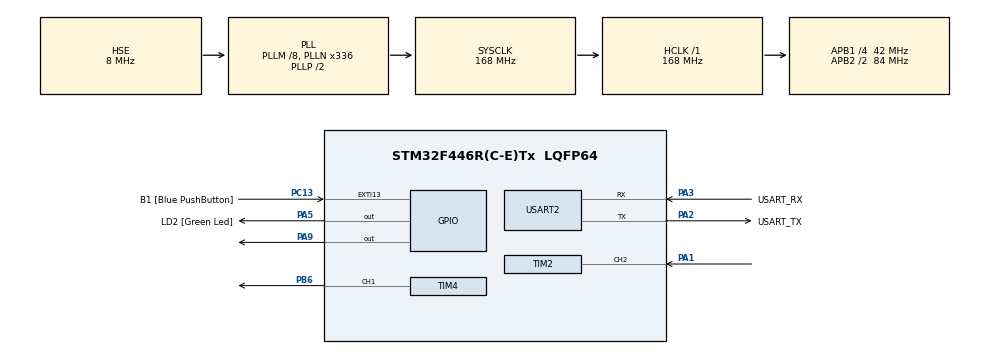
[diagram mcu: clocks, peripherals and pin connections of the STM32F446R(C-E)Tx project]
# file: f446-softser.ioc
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ADC1.Channel-40\#ChannelRegularConversion=ADC_CHANNEL_TEMPSENSOR
ADC1.ContinuousConvMode=ENABLE
ADC1.DiscontinuousConvMode=DISABLE
ADC1.EOCSelection=ADC_EOC_SEQ_CONV
ADC1.NbrOfConversion=1
ADC1.NbrOfConversionFlag=1
ADC1.Rank-40\#ChannelRegularConversion=1
ADC1.Resolution=ADC_RESOLUTION_12B
ADC1.SamplingTime-40\#ChannelRegularConversion=ADC_SAMPLETIME_3CYCLES
ADC1.master=1
Mcu.Family=STM32F4
Mcu.Name=STM32F446R(C-E)Tx
Mcu.Package=LQFP64
NVIC.PriorityGroup=NVIC_PRIORITYGROUP_2
NVIC.TIM2_IRQn=true\:1\:1\:true\:false\:true
NVIC.TIM3_IRQn=true\:1\:0\:true\:false\:true
PA1.Signal=S_TIM2_CH2
PA13.GPIO_Label=TMS
PA13.Signal=SYS_JTMS-SWDIO
PA14.GPIO_Label=TCK
PA14.Signal=SYS_JTCK-SWCLK
PA2.GPIO_Label=USART_TX
PA2.Mode=Asynchronous
PA2.Signal=USART2_TX
PA3.GPIO_Label=USART_RX
PA3.Mode=Asynchronous
PA3.Signal=USART2_RX
PA5.GPIO_Label=LD2 [Green Led]
PA5.Signal=GPIO_Output
PA9.PinState=GPIO_PIN_SET
PA9.Signal=GPIO_Output
PB3.GPIO_Label=SWO
PB3.Signal=SYS_JTDO-SWO
PB6.Signal=S_TIM4_CH1
PC13.GPIO_Label=B1 [Blue PushButton]
PC13.GPIO_ModeDefaultEXTI=GPIO_MODE_EVT_RISING
PC13.Signal=GPXTI13
PC14-OSC32_IN.Signal=RCC_OSC32_IN
PC15-OSC32_OUT.Signal=RCC_OSC32_OUT
PH0-OSC_IN.Mode=HSE-External-Clock-Source
PH0-OSC_IN.Signal=RCC_OSC_IN
PH1-OSC_OUT.Mode=HSE-External-Clock-Source
PH1-OSC_OUT.Signal=RCC_OSC_OUT
ProjectManager.HeapSize=0x200
ProjectManager.StackSize=0x400
ProjectManager.TargetToolchain=MDK-ARM V5
RCC.AHBFreq_Value=168000000
RCC.APB1CLKDivider=RCC_HCLK_DIV4
RCC.APB1Freq_Value=42000000
RCC.APB1TimFreq_Value=84000000
RCC.APB2CLKDivider=RCC_HCLK_DIV2
RCC.APB2Freq_Value=84000000
RCC.APB2TimFreq_Value=168000000
RCC.CortexFreq_Value=168000000
RCC.FLatency-AdvancedSettings=FLASH_LATENCY_5
RCC.HCLKFreq_Value=168000000
RCC.HSE_VALUE=8000000
RCC.HSI_VALUE=16000000
RCC.PLLM=8
RCC.PLLN=336
RCC.PLLSourceVirtual=RCC_PLLSOURCE_HSE
RCC.SYSCLKFreq_VALUE=168000000
RCC.SYSCLKSource=RCC_SYSCLKSOURCE_PLLCLK
RCC.USBFreq_Value=168000000
RCC.VCOOutputFreq_Value=336000000
SH.S_TIM2_CH2.0=TIM2_CH2,Input_Capture2_from_TI2
SH.S_TIM4_CH1.0=TIM4_CH1,PWM Generation1 CH1
TIM2.Channel-Input_Capture2_from_TI2=TIM_CHANNEL_2
TIM2.ICFilter_CH2=0
TIM2.ICPolarity_CH2=TIM_INPUTCHANNELPOLARITY_FALLING
TIM2.Period=0xffffffff
TIM2.Pulse-Output\ Compare1\ No\ Output=0
TIM3.Period=2099
TIM3.Prescaler=1
TIM4.OCFastMode_PWM-PWM\ Generation1\ CH1=TIM_OCFAST_ENABLE
TIM4.Period=2210
TIM4.Pulse-PWM\ Generation1\ CH1=1105
VP_ADC1_TempSens_Input.Mode=IN-TempSens
VP_TIM2_VS_ClockSourceINT.Mode=Internal
VP_TIM2_VS_no_output1.Mode=Output Compare1 No Output
VP_TIM3_VS_ClockSourceINT.Mode=Internal
VP_TIM3_VS_no_output1.Mode=Output Compare1 No Output
VP_TIM4_VS_ClockSourceINT.Mode=Internal
board=NUCLEO-F446RE

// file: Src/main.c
/**
  ******************************************************************************
  * File Name          : main.c
  * Description        : Main program body
  ******************************************************************************
  *
  * COPYRIGHT(c) 2016 STMicroelectronics
  *
  * Redistribution and use in source and binary forms, with or without modification,
  * are permitted provided that the following conditions are met:
  *   1. Redistributions of source code must retain the above copyright notice,
  *      this list of conditions and the following disclaimer.
  *   2. Redistributions in binary form must reproduce the above copyright notice,
  *      this list of conditions and the following disclaimer in the documentation
  *      and/or other materials provided with the distribution.
  *   3. Neither the name of STMicroelectronics nor the names of its contributors
  *      may be used to endorse or promote products derived from this software
  *      without specific prior written permission.
  *
  * THIS SOFTWARE IS PROVIDED BY THE COPYRIGHT HOLDERS AND CONTRIBUTORS "AS IS"
  * AND ANY EXPRESS OR IMPLIED WARRANTIES, INCLUDING, BUT NOT LIMITED TO, THE
  * IMPLIED WARRANTIES OF MERCHANTABILITY AND FITNESS FOR A PARTICULAR PURPOSE ARE
  * DISCLAIMED. IN NO EVENT SHALL THE COPYRIGHT HOLDER OR CONTRIBUTORS BE LIABLE
  * FOR ANY DIRECT, INDIRECT, INCIDENTAL, SPECIAL, EXEMPLARY, OR CONSEQUENTIAL
  * DAMAGES (INCLUDING, BUT NOT LIMITED TO, PROCUREMENT OF SUBSTITUTE GOODS OR
  * SERVICES; LOSS OF USE, DATA, OR PROFITS; OR BUSINESS INTERRUPTION) HOWEVER
  * CAUSED AND ON ANY THEORY OF LIABILITY, WHETHER IN CONTRACT, STRICT LIABILITY,
  * OR TORT (INCLUDING NEGLIGENCE OR OTHERWISE) ARISING IN ANY WAY OUT OF THE USE
  * OF THIS SOFTWARE, EVEN IF ADVISED OF THE POSSIBILITY OF SUCH DAMAGE.
  *
  ******************************************************************************
  */
#include "stm32f4xx_hal.h"
#include "adc.h"
#include "tim.h"
#include "usart.h"
#include "gpio.h"

/* USER CODE BEGIN Includes */
#include <string.h>
#include "cmsis_os.h"
#include "macros.h"
#include "drv.h"
/* USER CODE END Includes */

/* USER CODE BEGIN PV */
/* Private variables ---------------------------------------------------------*/
#ifdef MAC_COORDINATOR
osThreadId tid_blinkLED;
#endif
//osThreadId tid_sendSerial;
//osThreadId tid_checkButton;
char Buf[1024];
#ifdef DRV_TEST
uint8_t TestSnd[DRV_TEST] = {0, 1, 2, 3, 4, 5, 6, 7, 8, 9,
                             0, 1, 2, 3, 4, 5, 6, 7, 8, 9,
                             0, 1, 2, 3, 4, 5, 6, 7, 8, 9,
                             0, 1, 2, 3, 4, 5, 6, 7, 8, 9};
uint8_t TestRcv[DRV_TEST];
osThreadId tid_DrvTest;
#endif
//char rcv[128];
//uint16_t rcvlen;

// Required for HAL_GetTick function
extern uint32_t os_time;

//uint8_t TXData[] = "Test data input vwxyz\t";
/* USER CODE END PV */

void SystemClock_Config(void);
void Error_Handler(void);

/* USER CODE BEGIN PFP */
/* Private function prototypes -----------------------------------------------*/

/* USER CODE END PFP */

/* USER CODE BEGIN 0 */
uint32_t HAL_GetTick(void) {
  return os_time;
}

#ifdef MAC_COORDINATOR
void blinkLED(void const *argument) {
  while (1) {
    __GPIO_WRITE(GPIOA, 5, GPIO_PIN_SET);
    osSignalWait(0x0001, osWaitForever);
    __GPIO_WRITE(GPIOA, 5, GPIO_PIN_RESET);
    osSignalWait(0x0001, osWaitForever);

    //sprintf(Buf, "%x\r\n", serbuff);
    //HAL_UART_Transmit(&huart2, (uint8_t *) Buf, strlen(Buf), 0xffffffff);
  }
}
#endif

#ifdef DRV_TEST
void DrvTest(void const *argument) {
  int i;

  while (1) {
    PHY_API_SendStart(TestSnd, DRV_TEST);
    osSignalWait(1, osWaitForever);
    for (i = 0; i < DRV_TEST; i++) {
      sprintf(Buf, "%x ", TestRcv[i]);
      HAL_UART_Transmit(&huart2, (uint8_t *) Buf, strlen(Buf), 0xff);
    }
    HAL_UART_Transmit(&huart2, (uint8_t *) "\r\n", strlen("\r\n"), 0xff);
  }
}

osThreadDef(DrvTest, osPriorityNormal, 1, 0);
#endif
/*
void sendSerial(void const *argument) {
	uint8_t *ptr;
	uint16_t blen;

  while(1) {
    osSignalWait(1, osWaitForever);
		ptr = Buffer;
		blen = BufferLen;
		while(blen--) {
			HAL_UART_Transmit(&huart2, ptr++, 1, 1);
		}
    //sprintf(Buf, "%x ", printval);
    //HAL_UART_Transmit(&huart2, (uint8_t *) Buf, strlen(Buf), 0xf);
  }
}*/

uint8_t bitcnt(uint8_t x) {
	x = (x & 0x55 ) + ((x >>  1) & 0x55 ); //put count of each  2 bits into those  2 bits
	x = (x & 0x33 ) + ((x >>  2) & 0x33 ); //put count of each  4 bits into those  4 bits
	x = (x & 0xf ) + ((x >>  4) & 0xf ); //put count of each  8 bits into those  8 bits

	return x;
}
/*
void sendSerial(void const *argument) {
	while(1) {
		osSignalWait(1, osWaitForever);
		HAL_UART_Transmit(&huart2,(uint8_t *) rcv, rcvlen, 0xffff);
	}
}*/

/*
void sendSerial(void const *argument) {
	int i, errcnt;

	while(1) {
		osSignalWait(1, osWaitForever);
		errcnt = 0;
		for (i = 0; i < (sizeof(TXData) - 1); i++)
			errcnt += bitcnt(TXData[i] ^ rcv[i]);
		sprintf(Buf, "%4d", errcnt);
		HAL_UART_Transmit(&huart2,(uint8_t *) Buf, strlen(Buf), 0xff);
	}
}*/
/*
void checkButton(void const *argument) {
  while (1) {
    // Always send data
    PHY_API_SendStart(TXData, sizeof(TXData) - 1);

    if (!__GPIO_READ(GPIOC, 13)) {
      PHY_API_SendStart(TXData, sizeof(TXData) - 1);
      osDelay(200);
    }/
  }
}
*/
#ifdef MAC_COORDINATOR
osThreadDef (blinkLED, osPriorityNormal, 1, 0);
#endif
//osThreadDef (sendSerial, osPriorityNormal, 1, 0);
//osThreadDef (checkButton, osPriorityNormal, 1, 0);
/* USER CODE END 0 */

int main(void)
{

  /* USER CODE BEGIN 1 */
  osKernelInitialize();
  /* USER CODE END 1 */

  /* MCU Configuration----------------------------------------------------------*/

  /* Reset of all peripherals, Initializes the Flash interface and the Systick. */
  HAL_Init();

  /* Configure the system clock */
  SystemClock_Config();

  /* Initialize all configured peripherals */
  MX_GPIO_Init();
  MX_TIM2_Init();
  MX_USART2_UART_Init();
  MX_TIM4_Init();
  MX_TIM3_Init();
  MX_ADC1_Init();

  /* USER CODE BEGIN 2 */
//#ifdef  USE_FULL_ASSERT
#if !defined(MAC_COORDINATOR) || defined(DRV_TEST)
  // Board - Serial identification
  sprintf(Buf, "\x0cNUCLEO-F446 Debug Terminal\r\nVisible Light Communication "
      "Project\r\n---\r\nDEV_CONFIG=%d\r\n\r\n", DEV_CONFIG);
  HAL_UART_Transmit(&huart2, (uint8_t *) Buf, strlen(Buf), 0xffff);
#endif
//#endif
  // Initialize Optical Driver
  DRV_Init();
  // Initialize PHY layer
  PHY_Init();
#ifndef DRV_TEST
  // Initialize MAC APP layer
  MAC_AppInit();
#endif

  // Create threads
#ifdef MAC_COORDINATOR
  tid_blinkLED = osThreadCreate (osThread(blinkLED), NULL);
#endif
#ifdef DRV_TEST
  tid_DrvTest = osThreadCreate(osThread(DrvTest), NULL);
#endif
  //tid_sendSerial = osThreadCreate (osThread(sendSerial), NULL);
  //tid_checkButton = osThreadCreate (osThread(checkButton), NULL);
  // Start thread execution
  osKernelStart();

  // Run codes
#ifndef DRV_TEST
  DRV_RX_Start();
#endif
  /* USER CODE END 2 */

  /* Infinite loop */
  /* USER CODE BEGIN WHILE */
  while (1) {
    osDelay(1000);
#ifdef MAC_COORDINATOR
    osSignalSet(tid_blinkLED, 0x0001);
#endif
  }
  /* USER CODE END WHILE */

}

/** System Clock Configuration
*/
void SystemClock_Config(void)
{

  RCC_OscInitTypeDef RCC_OscInitStruct;
  RCC_ClkInitTypeDef RCC_ClkInitStruct;

  __HAL_RCC_PWR_CLK_ENABLE();

  __HAL_PWR_VOLTAGESCALING_CONFIG(PWR_REGULATOR_VOLTAGE_SCALE1);

  RCC_OscInitStruct.OscillatorType = RCC_OSCILLATORTYPE_HSE;
  RCC_OscInitStruct.HSEState = RCC_HSE_BYPASS;
  RCC_OscInitStruct.PLL.PLLState = RCC_PLL_ON;
  RCC_OscInitStruct.PLL.PLLSource = RCC_PLLSOURCE_HSE;
  RCC_OscInitStruct.PLL.PLLM = 8;
  RCC_OscInitStruct.PLL.PLLN = 336;
  RCC_OscInitStruct.PLL.PLLP = RCC_PLLP_DIV2;
  RCC_OscInitStruct.PLL.PLLQ = 2;
  RCC_OscInitStruct.PLL.PLLR = 2;
  if (HAL_RCC_OscConfig(&RCC_OscInitStruct) != HAL_OK)
  {
    Error_Handler();
  }

  RCC_ClkInitStruct.ClockType = RCC_CLOCKTYPE_HCLK|RCC_CLOCKTYPE_SYSCLK
                              |RCC_CLOCKTYPE_PCLK1|RCC_CLOCKTYPE_PCLK2;
  RCC_ClkInitStruct.SYSCLKSource = RCC_SYSCLKSOURCE_PLLCLK;
  RCC_ClkInitStruct.AHBCLKDivider = RCC_SYSCLK_DIV1;
  RCC_ClkInitStruct.APB1CLKDivider = RCC_HCLK_DIV4;
  RCC_ClkInitStruct.APB2CLKDivider = RCC_HCLK_DIV2;
  if (HAL_RCC_ClockConfig(&RCC_ClkInitStruct, FLASH_LATENCY_5) != HAL_OK)
  {
    Error_Handler();
  }

  HAL_SYSTICK_Config(HAL_RCC_GetHCLKFreq()/1000);

  HAL_SYSTICK_CLKSourceConfig(SYSTICK_CLKSOURCE_HCLK);

  /* SysTick_IRQn interrupt configuration */
  HAL_NVIC_SetPriority(SysTick_IRQn, 3, 0);
}

void Error_Handler(void)
{
  while(1)
  {
  }
}

/************************ (C) COPYRIGHT STMicroelectronics *****END OF FILE****/
